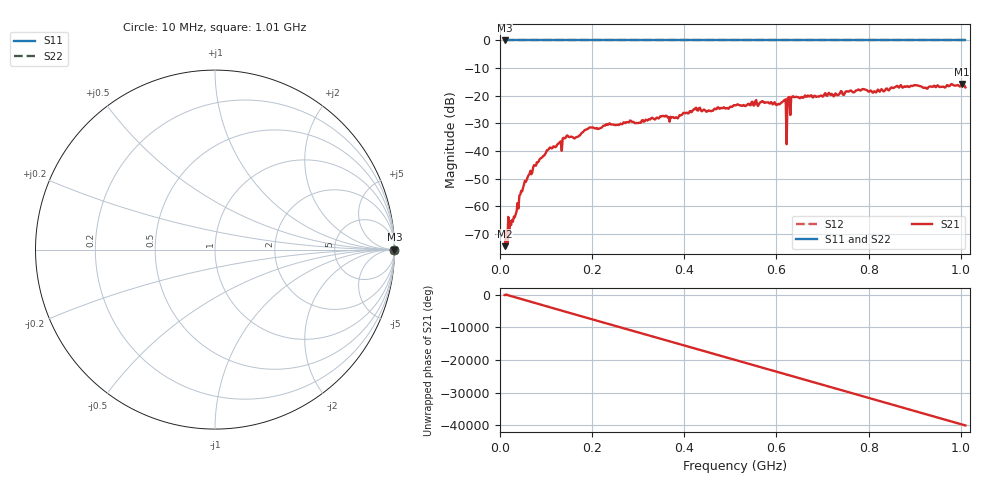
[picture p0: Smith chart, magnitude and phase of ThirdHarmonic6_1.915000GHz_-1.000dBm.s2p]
! 8/16/2025 11:06:01 PM
! C:\ANRITSUVNA\TEMP\TEMP.S2P
! CHANNEL.1
! TR.MEASUREMENT
! RAW.DATA
! RF.CORRECTION.OFF
! AVERAGING.OFF
! IF.BANDWIDTH: 5KHZ
! SWEEPTYPE:  FREQ.SWEEP(Linear)
! Reference Plane Port Info
! PORT:  PORT1  PORT2
! DISTANCE:  0  m  0  m
! TIME:  0  s  0  s
! PHASE.OFFSET:  0  deg.  0  deg.
! LOSS:  0  dB  0  dB
! REF.LOSS:  0  dB  0  dB
! REF.FREQ:  0  Hz  0  Hz
! Power Info
! POWER:  -20  dBm  -20  dBm
! EFF.POWER:  -20  dBm  -20  dBm
! SOURCE.ATTEN:  0  dB  0  dB
! TEST.ATTEN:  0  dB  0  dB
# GHZ S RI R 50.0
! FREQ.GHZ  S11RE  S11IM  S21RE  S21IM  S12RE  S12IM  S22RE  S22IM
!; PortSelection: Port_12
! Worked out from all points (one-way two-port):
!   501 points, 10 MHz to 1.01 GHz, reference 50 ohm
!   highest |S21| = -15.76 dB at 1.002 GHz (marker M1); lowest = -74.4 dB at 10 MHz (marker M2)
!   lowest |S11| = 0.0 dB at 10 MHz (marker M3)
!   |S11| at or under -10 dB: nowhere
!   |S22| runs from 0.0 to 0.0 dB; largest |S21 - S12| = 1.2
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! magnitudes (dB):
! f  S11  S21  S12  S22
! 10 MHz  0.0  -74.4  0.0  0.0
! 22 MHz  0.0  -65.3  0.0  0.0
! 36 MHz  0.0  -61.8  0.0  0.0
! 50 MHz  0.0  -53.3  0.0  0.0
! 76 MHz  0.0  -45.2  0.0  0.0
! 106 MHz  0.0  -39.3  0.0  0.0
! 130 MHz  0.0  -36.7  0.0  0.0
! 142 MHz  0.0  -35.3  0.0  0.0
! 178 MHz  0.0  -33.4  0.0  0.0
! 234 MHz  0.0  -30.6  0.0  0.0
! 344 MHz  0.0  -28.2  0.0  0.0
! 382 MHz  0.0  -27.8  0.0  0.0
! 510 MHz  0.0  -23.5  0.0  0.0
! 616 MHz  0.0  -21.8  0.0  0.0
! 618 MHz  0.0  -21.5  0.0  0.0
! 626 MHz  0.0  -20.5  0.0  0.0
! 628 MHz  0.0  -20.4  0.0  0.0
! 636 MHz  0.0  -20.2  0.0  0.0
! 678 MHz  0.0  -20.6  0.0  0.0
! 844 MHz  0.0  -18.1  0.0  0.0
! 1.002 GHz  0.0  -15.8  0.0  0.0
! 1.01 GHz  0.0  -17.0  0.0  0.0
